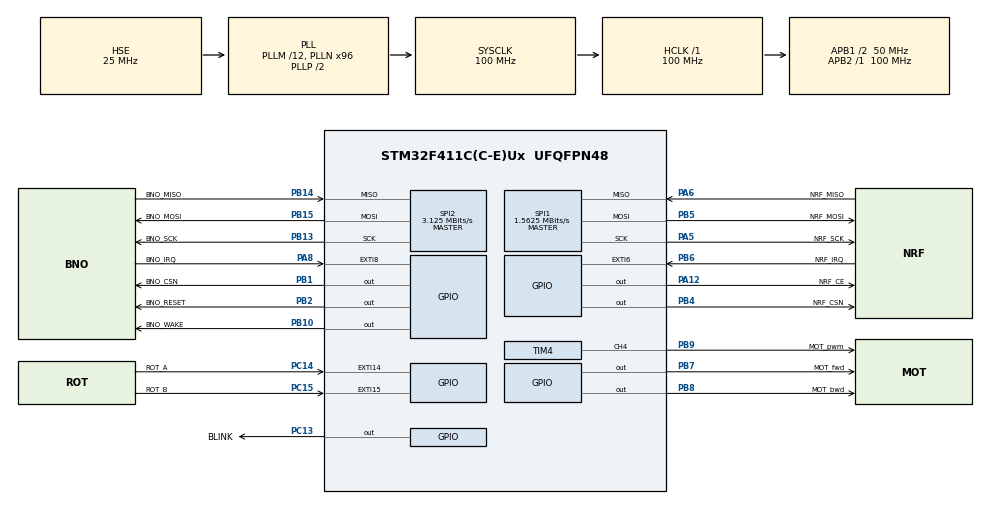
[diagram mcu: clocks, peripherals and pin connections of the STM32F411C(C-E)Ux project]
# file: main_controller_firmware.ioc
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Mcu.Family=STM32F4
Mcu.Name=STM32F411C(C-E)Ux
Mcu.Package=UFQFPN48
NVIC.EXTI15_10_IRQn=true\:0\:0\:false\:false\:true\:true\:true\:true
NVIC.EXTI9_5_IRQn=true\:0\:0\:false\:false\:true\:true\:true\:true
NVIC.PriorityGroup=NVIC_PRIORITYGROUP_4
NVIC.TIM1_BRK_TIM9_IRQn=true\:0\:0\:false\:false\:true\:true\:true\:true
NVIC.TIM4_IRQn=true\:0\:0\:false\:false\:true\:true\:true\:true
NVIC.TIM5_IRQn=true\:0\:0\:true\:false\:true\:true\:true\:true
PA12.GPIO_Label=NRF_CE
PA12.Signal=GPIO_Output
PA5.GPIO_Label=NRF_SCK
PA5.Mode=Full_Duplex_Master
PA5.Signal=SPI1_SCK
PA6.GPIO_Label=NRF_MISO
PA6.Mode=Full_Duplex_Master
PA6.Signal=SPI1_MISO
PA8.GPIO_Label=BNO_IRQ
PA8.GPIO_ModeDefaultEXTI=GPIO_MODE_IT_FALLING
PA8.Signal=GPXTI8
PB1.GPIO_Label=BNO_CSN
PB1.PinState=GPIO_PIN_SET
PB1.Signal=GPIO_Output
PB10.GPIO_Label=BNO_WAKE
PB10.PinState=GPIO_PIN_SET
PB10.Signal=GPIO_Output
PB13.GPIO_Label=BNO_SCK
PB13.Mode=Full_Duplex_Master
PB13.Signal=SPI2_SCK
PB14.GPIO_Label=BNO_MISO
PB14.Mode=Full_Duplex_Master
PB14.Signal=SPI2_MISO
PB15.GPIO_Label=BNO_MOSI
PB15.Mode=Full_Duplex_Master
PB15.Signal=SPI2_MOSI
PB2.GPIO_Label=BNO_RESET
PB2.Signal=GPIO_Output
PB4.GPIO_Label=NRF_CSN
PB4.PinState=GPIO_PIN_SET
PB4.Signal=GPIO_Output
PB5.GPIO_Label=NRF_MOSI
PB5.Mode=Full_Duplex_Master
PB5.Signal=SPI1_MOSI
PB6.GPIO_Label=NRF_IRQ
PB6.Signal=GPXTI6
PB7.GPIO_Label=MOT_fwd
PB7.Signal=GPIO_Output
PB8.GPIO_Label=MOT_bwd
PB8.Signal=GPIO_Output
PB9.GPIO_Label=MOT_pwm
PB9.Signal=S_TIM4_CH4
PC13-ANTI_TAMP.GPIO_Label=BLINK
PC13-ANTI_TAMP.Signal=GPIO_Output
PC14-OSC32_IN.GPIO_Label=ROT_A
PC14-OSC32_IN.GPIO_ModeDefaultEXTI=GPIO_MODE_IT_RISING_FALLING
PC14-OSC32_IN.Signal=GPXTI14
PC15-OSC32_OUT.GPIO_Label=ROT_B
PC15-OSC32_OUT.GPIO_ModeDefaultEXTI=GPIO_MODE_IT_RISING_FALLING
PC15-OSC32_OUT.Signal=GPXTI15
PH0\ -\ OSC_IN.Mode=HSE-External-Oscillator
PH0\ -\ OSC_IN.Signal=RCC_OSC_IN
PH1\ -\ OSC_OUT.Mode=HSE-External-Oscillator
PH1\ -\ OSC_OUT.Signal=RCC_OSC_OUT
ProjectManager.HeapSize=0x200
ProjectManager.StackSize=0x400
ProjectManager.TargetToolchain=STM32CubeIDE
RCC.48MHZClocksFreq_Value=50000000
RCC.AHBFreq_Value=100000000
RCC.APB1CLKDivider=RCC_HCLK_DIV2
RCC.APB1Freq_Value=50000000
RCC.APB1TimFreq_Value=100000000
RCC.APB2Freq_Value=100000000
RCC.APB2TimFreq_Value=100000000
RCC.CortexFreq_Value=100000000
RCC.HCLKFreq_Value=100000000
RCC.HSE_VALUE=25000000
RCC.HSI_VALUE=16000000
RCC.LSE_VALUE=32768
RCC.PLLM=12
RCC.PLLN=96
RCC.PLLSourceVirtual=RCC_PLLSOURCE_HSE
RCC.SYSCLKFreq_VALUE=100000000
RCC.SYSCLKSource=RCC_SYSCLKSOURCE_PLLCLK
RCC.VCOOutputFreq_Value=200000000
SH.S_TIM4_CH4.0=TIM4_CH4,PWM Generation4 CH4
SPI1.BaudRatePrescaler=SPI_BAUDRATEPRESCALER_64
SPI1.CalculateBaudRate=1.5625 MBits/s
SPI1.Direction=SPI_DIRECTION_2LINES
SPI1.Mode=SPI_MODE_MASTER
SPI1.VirtualType=VM_MASTER
SPI2.BaudRatePrescaler=SPI_BAUDRATEPRESCALER_16
SPI2.CLKPhase=SPI_PHASE_2EDGE
SPI2.CLKPolarity=SPI_POLARITY_HIGH
SPI2.CalculateBaudRate=3.125 MBits/s
SPI2.Direction=SPI_DIRECTION_2LINES
SPI2.Mode=SPI_MODE_MASTER
SPI2.VirtualType=VM_MASTER
TIM4.Channel-PWM\ Generation4\ CH4=TIM_CHANNEL_4
TIM4.Period=4999
TIM5.AutoReloadPreload=TIM_AUTORELOAD_PRELOAD_ENABLE
TIM5.Period=999
TIM5.Prescaler=499
TIM9.AutoReloadPreload=TIM_AUTORELOAD_PRELOAD_ENABLE
TIM9.Period=983
TIM9.Prescaler=245
VP_TIM4_VS_ClockSourceINT.Mode=Internal
VP_TIM5_VS_ClockSourceINT.Mode=Internal
VP_TIM9_VS_ClockSourceINT.Mode=Internal
board=custom

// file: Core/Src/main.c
/* USER CODE BEGIN Header */
/**
  ******************************************************************************
  * @file           : main.c
  * @brief          : Main program body
  ******************************************************************************
  * @attention
  *
  * Copyright (c) 2026 STMicroelectronics.
  * All rights reserved.
  *
  * This software is licensed under terms that can be found in the LICENSE file
  * in the root directory of this software component.
  * If no LICENSE file comes with this software, it is provided AS-IS.
  *
  ******************************************************************************
  */
/* USER CODE END Header */
#include "main.h"

/* USER CODE BEGIN Includes */
#include <math.h>

// Drivers
#include "nRF24_driver.h"
#include "bno_driver.h"
#include "motor_controller.h"

// Automatic controller
#include "auto_controller.h"

// Wireless communication protocol
#include "message_protocol.h"

// Linearisation table, et. al.
#include "lookup_tables.h"
/* USER CODE END Includes */

SPI_HandleTypeDef hspi1;
SPI_HandleTypeDef hspi2;

TIM_HandleTypeDef htim4;
TIM_HandleTypeDef htim5;
TIM_HandleTypeDef htim9;

/* USER CODE BEGIN PV */
SPI_HandleTypeDef*  hspi_bno  = &hspi2;
TIM_HandleTypeDef*  htim_mot  = &htim4;

// ======================== CONSTANTS =======================
// pi
#define PI 3.14159265358979323
// Angle conversion constants
const float DEG_TO_RAD = PI/180.0;
const float RAD_TO_DEG = (180.0/PI);
const float RDPS_TO_RPM = 60/(2*PI);

// Maximum controller output
#define MAX_CTRL 1.0
// Controller frequency
#define CTRL_FREQ 200.0
// Hysteresis limits for linear controller
const float LIM_LIN_START_ANGLE  = 3.5*DEG_TO_RAD;
const float LIM_LIN_START_SPEED  = 0.5;
const float LIM_LIN_STOP_ANGLE = 7.5*DEG_TO_RAD;
const float LIM_LIN_STOP_SPEED = 999.0;
const float SWING_DOWN_SPEED_MULT = 10.0;
// Yaw offset (radians)
float YAWR_OFFSET = 3.30*DEG_TO_RAD;
float YAW_OFFSET  = 0;
// Linear region sensitivity
float LINEAR_SENSITIVITY = 0.718;

// Rotary encoder pulses per rotation, and conversion constant
#define ROTARY_ENC_PPR 8192.0
const float ROT_E_TO_ROT_VEL = 2.0*PI*CTRL_FREQ/ROTARY_ENC_PPR;

// Physical parameters of RWP
const float J_f = 0.000058;   // Reaction wheel moment of inertia as kg/m^2
      float J_p = 0.0250;     // Pendulum arm moment of inertia as kg/m^2
const float K_g = 1.3726;     // Potential energy constant
/* USER CODE END PV */

void SystemClock_Config(void);
static void MX_GPIO_Init(void);
static void MX_TIM4_Init(void);
static void MX_SPI1_Init(void);
static void MX_TIM5_Init(void);
static void MX_TIM9_Init(void);
static void MX_SPI2_Init(void);
/* USER CODE BEGIN PFP */
void setMotorOutput(float);
/* USER CODE END PFP */

/* USER CODE BEGIN 0 */

// Raw outputs of IMU
float yaw, yaw_raw;
float dyaw, dyaw_raw, dyaw_smooth;
float pitch, roll;
// Rotary encoder output
int16_t pulse_count = 0;

// Wireless comms stuff
uint8_t last_cmd_counter = 0;
uint8_t fault_acknowledged = 0;

// RWP state
RWP_MODE rwp_mode = RWP_MODE_HALTED;
RWP_DATA_KIND rwp_data = SENSOR_DATA;
RWP_CTRL_MODE rwp_ctrl = RWP_CTRL_SWINGUP;

// There are two sources of pin interrupts. These are the IMU's IRQ and the rotary encoder.
void HAL_GPIO_EXTI_Callback(uint16_t GPIO_Pin) {
  // IMU interrupt request
  if (GPIO_Pin == BNO_IRQ_Pin) {
    // Yes, this is sketch.
    //
    // The IMU measurement is very non-linear, so I put it through
    // a lookup table to linearise. This introduces a lot of noise,
    // so an IIR is used to denoise. The phase lag this introduces
    // is too much for the linear region, so a separate set of raw
    // values is maintained as well...
    //
    // Next,
    // the angle output runs from -pi to pi radians. 0 radians corr-
    // esponds to the upright position, and pi/-pi is the downwards
    // position. Due to this, the angle output is discontinuous when
    // the pendulum points exactly downwards. This  breaks numeric
    // differentiation, giving massive spikes for dyaw. To fix this,
    // I check how big the calculated angular velocity is, and if it
    // exceeds +-pi radians per timestep (100 radians/s) then we ass-
    // ume that the zero point was crossed and subtract/add 2*pi from -
    // the result before using it to calculate dyaw.
    //
    // It's hacky, but I've tested it...

    // Save previously measured values
    float yaw_prev = yaw, yaw_raw_prev = yaw_raw;

    // Get the raw IMU values
    BNO_IRQcallback();
    BNO_getYPR(&yaw_raw, &pitch, &roll);

    // Calculate raw dyaw for linear region
    // This is only used when yaw is smol, so adjusting for
    // the discontinuity is not necessary
    dyaw_raw = (yaw_raw - yaw_raw_prev)*CTRL_FREQ;

    // Correct the plain yaw for nonlinearity
    yaw = motorLinearizationLookup(yaw_raw);

    // Calculate plain dyaw, being aware of the discontinuity
    if (yaw - yaw_prev > PI)
      dyaw = (yaw - yaw_prev - 2*PI)*CTRL_FREQ;
    else if (yaw - yaw_prev < -PI)
      dyaw = (yaw - yaw_prev + 2*PI)*CTRL_FREQ;
    else
      dyaw = (yaw - yaw_prev)*CTRL_FREQ;

    // IIR filter for dyaw
    static float last_iir_output = 0.0;
    last_iir_output = 0.80 * last_iir_output + 0.20 * dyaw;
    dyaw_smooth = last_iir_output;

    return;
  }
  // Rotary encoder tick
  else {
    // Get the rotary encoder pin levels
    GPIO_PinState A_status = HAL_GPIO_ReadPin(ROT_A_GPIO_Port, ROT_A_Pin);
    GPIO_PinState B_status = HAL_GPIO_ReadPin(ROT_B_GPIO_Port, ROT_B_Pin);

    // If pin A triggered, the pins are the same when rotating CCW
    // If pin B triggered, the pins are different when rotating CCW
    // If the pins have the opposite sense to the above, rotation is CW
    // This can elegantly be expressed as the below
    if ((GPIO_Pin == ROT_A_Pin) == (A_status == B_status))
      pulse_count++;
    else
      pulse_count--;
  }
}

void HAL_TIM_PeriodElapsedCallback(TIM_HandleTypeDef* htim) {
  // Control variables
  static float  user_input = 0.0;
  static double a_p, a_pl, v_f, v_p, v_pl;
  static double KE_p, KE_f, PE_p;
  static float  motor_output = 0.0;

  // Communication variables
  static uint8_t missed_packets = 0;

  // 100Hz timer for control
  if (htim == &htim5) {
    /* ============== MOTOR CONTROL CODE ============= */

    // Calculate the current state (all rad or rad/s)
    a_p  = yaw - YAW_OFFSET;             // Linearised theta
    a_pl = yaw_raw - YAWR_OFFSET;        // Raw theta
    v_p  = dyaw_smooth;                  // Linearised omega_p
    v_pl = dyaw_raw;                     // Raw omega_p
    v_f  = -ROT_E_TO_ROT_VEL*pulse_count; // Reaction wheel vel
    // Send sensor state to auto controller
    setSensorState(a_p, a_pl, v_p, v_pl, v_f);

    // System energy estimation (all J)
    KE_p = v_p*v_p*J_p/2.0;
    KE_f = v_f*v_f*J_f/2.0;
    PE_p = K_g * (cos(a_p)-1);

    // Reset pulse_count to get a relative measurement
    pulse_count = 0;

    // In calibration mode, continuously set the angle offsets to the current angles and break the motor
    if (rwp_mode == RWP_MODE_CALIBRATION) {
      YAWR_OFFSET = yaw_raw;
      YAW_OFFSET  = yaw;
      motor_output = 0.1*v_f;
    }
    // If in manual mode, set the output to the potentiometer value
    else if (rwp_mode == RWP_MODE_MANUAL)
      motor_output = user_input;
    // If in halt mode, set the output to zero
    else if (rwp_mode == RWP_MODE_HALTED)
      motor_output = 0;
    // In auto mode, get the auto controller value
    else if (rwp_mode == RWP_MODE_AUTO)
      motor_output = getMotorCtrlValue();
    // If the rotor lock mode is enabled, resist any rotation of the rotor
    else if (rwp_mode == RWP_MODE_LOCK)
      motor_output = 0.1*v_f;
    // In any fault mode, lightly brake the motor...
    else
      motor_output = 0.01*v_f;

    // For safety, prevent the motor from going faster than 170rad/s
    if (v_f >  170) motor_output += 0.01*(v_f-170);
    if (v_f < -170) motor_output += 0.01*(v_f+170);

    // Clip the control value
    if (motor_output > MAX_CTRL) motor_output = MAX_CTRL;
    else if (motor_output < -MAX_CTRL) motor_output = -MAX_CTRL;

    // Update motor output
    setMotorOutput(motor_output);
  }
  // 200Hz timer for communications
  else if (htim == &htim9) {
    /* ============== COMMUNICATIONS CODE ============= */
    // Increment synchronization counters
    ++last_cmd_counter;

    // If there's data available from the nRF24, get it!
    uint8_t fifo_status = readNRF24register(N24_FIFO_STATUS);
    if ((fifo_status & 0b00000001) == 0) {
      // Packet has been received, update appropriate variables
      last_cmd_counter = 0;
      missed_packets = 0;

      // Read the received packet into a frame get its contents
      RMT_MESSAGE_FRAME rmt_message;
      readNRF24payload(rmt_message.bytes, 16);
      int16_t raw_value = rmt_message.control_msg.pot_value;
      user_input = raw_value/2048.0f;
      // and update the mode based on received packet
      RWP_MODE req_mode = rmt_message.control_msg.req_mode;
      if (rwp_mode >= 0x80 && rwp_mode == rmt_message.control_msg.req_mode) {
        fault_acknowledged = 1;
        rwp_mode = RWP_MODE_HALTED;
      }
      else {
        if (req_mode >= 0x80 && fault_acknowledged == 1)
          rwp_mode = RWP_MODE_HALTED;
        else
          rwp_mode = rmt_message.control_msg.req_mode;
      }
      rwp_data = rmt_message.control_msg.req_data_type;

      // Clear, rebuild and set new acknowledge payload
      RWP_MESSAGE_FRAME rwp_message;
      memset(rwp_message.bytes, 0x00, 32);
      rwp_message.sensor_data.data_type = rwp_data;
      rwp_message.sensor_data.cur_mode = rwp_mode;
      if (rwp_data == SENSOR_DATA) {
        rwp_message.sensor_data.yaw   = RAD_TO_DEG * yaw;
        rwp_message.sensor_data.pitch = RAD_TO_DEG * pitch;
        rwp_message.sensor_data.roll  = RAD_TO_DEG * roll;
        rwp_message.sensor_data.RPM   = RDPS_TO_RPM * v_f;
        rwp_message.sensor_data.ctrl_mode = getCtrlState();
      }
      else {
        rwp_message.control_data.ctrl_mode  = getCtrlState();
        rwp_message.control_data.ctrl_value = motor_output;
        rwp_message.control_data.v_a = a_p;
        rwp_message.control_data.v_b = v_p;
        rwp_message.control_data.v_c = v_f;
        rwp_message.control_data.v_d = PE_p;
        rwp_message.control_data.v_e = KE_p;
        rwp_message.control_data.v_f = KE_f;
      }
      writeNRF24ackPayload(rwp_message.bytes, 32, 0);

      // Clear RX_DR interrupt
      writeNRF24register(N24_STATUS, 0b01000000);

      HAL_GPIO_WritePin(BLINK_GPIO_Port, BLINK_Pin, GPIO_PIN_SET);
    }

    // Check for missed packets (10 consecutive polls with no packet)
    if (last_cmd_counter > 2) {
      last_cmd_counter = 0;

      // If we miss three packets in a row, stop
      if (missed_packets >= 3) {
        rwp_mode = RWP_MODE_HALTED;

        missed_packets = ((missed_packets-9)%25)+10;

        // Blink if there is a consistent wireless comms failure
        if (missed_packets == 10) HAL_GPIO_TogglePin(BLINK_GPIO_Port, BLINK_Pin);
      }
      else {
         ++missed_packets;
      }
    }
  }
  else if (htim == htim_mot) {
    if (next_sample() == 0)
      HAL_TIM_Base_Stop_IT(htim_mot);
  }
}

/* USER CODE END 0 */

int main(void)
{

  /* MCU Configuration--------------------------------------------------------*/

  /* Reset of all peripherals, Initializes the Flash interface and the Systick. */
  HAL_Init();

  /* Configure the system clock */
  SystemClock_Config();

  /* Initialize all configured peripherals */
  MX_GPIO_Init();
  MX_TIM4_Init();
  MX_SPI1_Init();
  MX_TIM5_Init();
  MX_TIM9_Init();
  MX_SPI2_Init();
  /* USER CODE BEGIN 2 */

  // Stop motor, then start PWM generation
  setMotorOutput(0.0f);
  HAL_TIM_PWM_Start(&htim4, TIM_CHANNEL_4);

  // Start the nRF24
  NRF24_init();
  HAL_GPIO_WritePin(BLINK_GPIO_Port, BLINK_Pin, GPIO_PIN_SET);
  HAL_TIM_Base_Start_IT(&htim9);

  // Play a startup tune
  playStartupTune();

  // Start the BNO085
  BNO_startup();

  // Then start the rotation vector output
  BNO_startRotationVector();

  // Finally, enable the motor controller after setting everything else up
  HAL_TIM_Base_Start_IT(&htim5);

  /* USER CODE END 2 */

  /* Infinite loop */
  while (1)
  {

  }
}

void SystemClock_Config(void)
{
  RCC_OscInitTypeDef RCC_OscInitStruct = {0};
  RCC_ClkInitTypeDef RCC_ClkInitStruct = {0};

  /** Configure the main internal regulator output voltage
  */
  __HAL_RCC_PWR_CLK_ENABLE();
  __HAL_PWR_VOLTAGESCALING_CONFIG(PWR_REGULATOR_VOLTAGE_SCALE1);

  /** Initializes the RCC Oscillators according to the specified parameters
  * in the RCC_OscInitTypeDef structure.
  */
  RCC_OscInitStruct.OscillatorType = RCC_OSCILLATORTYPE_HSE;
  RCC_OscInitStruct.HSEState = RCC_HSE_ON;
  RCC_OscInitStruct.PLL.PLLState = RCC_PLL_ON;
  RCC_OscInitStruct.PLL.PLLSource = RCC_PLLSOURCE_HSE;
  RCC_OscInitStruct.PLL.PLLM = 12;
  RCC_OscInitStruct.PLL.PLLN = 96;
  RCC_OscInitStruct.PLL.PLLP = RCC_PLLP_DIV2;
  RCC_OscInitStruct.PLL.PLLQ = 4;
  if (HAL_RCC_OscConfig(&RCC_OscInitStruct) != HAL_OK)
  {
    Error_Handler();
  }

  /** Initializes the CPU, AHB and APB buses clocks
  */
  RCC_ClkInitStruct.ClockType = RCC_CLOCKTYPE_HCLK|RCC_CLOCKTYPE_SYSCLK
                              |RCC_CLOCKTYPE_PCLK1|RCC_CLOCKTYPE_PCLK2;
  RCC_ClkInitStruct.SYSCLKSource = RCC_SYSCLKSOURCE_PLLCLK;
  RCC_ClkInitStruct.AHBCLKDivider = RCC_SYSCLK_DIV1;
  RCC_ClkInitStruct.APB1CLKDivider = RCC_HCLK_DIV2;
  RCC_ClkInitStruct.APB2CLKDivider = RCC_HCLK_DIV1;

  if (HAL_RCC_ClockConfig(&RCC_ClkInitStruct, FLASH_LATENCY_3) != HAL_OK)
  {
    Error_Handler();
  }
}

static void MX_SPI1_Init(void)
{

  /* SPI1 parameter configuration*/
  hspi1.Instance = SPI1;
  hspi1.Init.Mode = SPI_MODE_MASTER;
  hspi1.Init.Direction = SPI_DIRECTION_2LINES;
  hspi1.Init.DataSize = SPI_DATASIZE_8BIT;
  hspi1.Init.CLKPolarity = SPI_POLARITY_LOW;
  hspi1.Init.CLKPhase = SPI_PHASE_1EDGE;
  hspi1.Init.NSS = SPI_NSS_SOFT;
  hspi1.Init.BaudRatePrescaler = SPI_BAUDRATEPRESCALER_64;
  hspi1.Init.FirstBit = SPI_FIRSTBIT_MSB;
  hspi1.Init.TIMode = SPI_TIMODE_DISABLE;
  hspi1.Init.CRCCalculation = SPI_CRCCALCULATION_DISABLE;
  hspi1.Init.CRCPolynomial = 10;
  if (HAL_SPI_Init(&hspi1) != HAL_OK)
  {
    Error_Handler();
  }

}

static void MX_SPI2_Init(void)
{

  /* SPI2 parameter configuration*/
  hspi2.Instance = SPI2;
  hspi2.Init.Mode = SPI_MODE_MASTER;
  hspi2.Init.Direction = SPI_DIRECTION_2LINES;
  hspi2.Init.DataSize = SPI_DATASIZE_8BIT;
  hspi2.Init.CLKPolarity = SPI_POLARITY_HIGH;
  hspi2.Init.CLKPhase = SPI_PHASE_2EDGE;
  hspi2.Init.NSS = SPI_NSS_SOFT;
  hspi2.Init.BaudRatePrescaler = SPI_BAUDRATEPRESCALER_16;
  hspi2.Init.FirstBit = SPI_FIRSTBIT_MSB;
  hspi2.Init.TIMode = SPI_TIMODE_DISABLE;
  hspi2.Init.CRCCalculation = SPI_CRCCALCULATION_DISABLE;
  hspi2.Init.CRCPolynomial = 10;
  if (HAL_SPI_Init(&hspi2) != HAL_OK)
  {
    Error_Handler();
  }

}

static void MX_TIM4_Init(void)
{

  TIM_ClockConfigTypeDef sClockSourceConfig = {0};
  TIM_MasterConfigTypeDef sMasterConfig = {0};
  TIM_OC_InitTypeDef sConfigOC = {0};

  htim4.Instance = TIM4;
  htim4.Init.Prescaler = 0;
  htim4.Init.CounterMode = TIM_COUNTERMODE_UP;
  htim4.Init.Period = 4999;
  htim4.Init.ClockDivision = TIM_CLOCKDIVISION_DIV1;
  htim4.Init.AutoReloadPreload = TIM_AUTORELOAD_PRELOAD_DISABLE;
  if (HAL_TIM_Base_Init(&htim4) != HAL_OK)
  {
    Error_Handler();
  }
  sClockSourceConfig.ClockSource = TIM_CLOCKSOURCE_INTERNAL;
  if (HAL_TIM_ConfigClockSource(&htim4, &sClockSourceConfig) != HAL_OK)
  {
    Error_Handler();
  }
  if (HAL_TIM_PWM_Init(&htim4) != HAL_OK)
  {
    Error_Handler();
  }
  sMasterConfig.MasterOutputTrigger = TIM_TRGO_RESET;
  sMasterConfig.MasterSlaveMode = TIM_MASTERSLAVEMODE_DISABLE;
  if (HAL_TIMEx_MasterConfigSynchronization(&htim4, &sMasterConfig) != HAL_OK)
  {
    Error_Handler();
  }
  sConfigOC.OCMode = TIM_OCMODE_PWM1;
  sConfigOC.Pulse = 0;
  sConfigOC.OCPolarity = TIM_OCPOLARITY_HIGH;
  sConfigOC.OCFastMode = TIM_OCFAST_DISABLE;
  if (HAL_TIM_PWM_ConfigChannel(&htim4, &sConfigOC, TIM_CHANNEL_4) != HAL_OK)
  {
    Error_Handler();
  }
  HAL_TIM_MspPostInit(&htim4);

}

static void MX_TIM5_Init(void)
{

  TIM_ClockConfigTypeDef sClockSourceConfig = {0};
  TIM_MasterConfigTypeDef sMasterConfig = {0};

  htim5.Instance = TIM5;
  htim5.Init.Prescaler = 499;
  htim5.Init.CounterMode = TIM_COUNTERMODE_UP;
  htim5.Init.Period = 999;
  htim5.Init.ClockDivision = TIM_CLOCKDIVISION_DIV1;
  htim5.Init.AutoReloadPreload = TIM_AUTORELOAD_PRELOAD_ENABLE;
  if (HAL_TIM_Base_Init(&htim5) != HAL_OK)
  {
    Error_Handler();
  }
  sClockSourceConfig.ClockSource = TIM_CLOCKSOURCE_INTERNAL;
  if (HAL_TIM_ConfigClockSource(&htim5, &sClockSourceConfig) != HAL_OK)
  {
    Error_Handler();
  }
  sMasterConfig.MasterOutputTrigger = TIM_TRGO_RESET;
  sMasterConfig.MasterSlaveMode = TIM_MASTERSLAVEMODE_DISABLE;
  if (HAL_TIMEx_MasterConfigSynchronization(&htim5, &sMasterConfig) != HAL_OK)
  {
    Error_Handler();
  }

}

static void MX_TIM9_Init(void)
{

  TIM_ClockConfigTypeDef sClockSourceConfig = {0};

  htim9.Instance = TIM9;
  htim9.Init.Prescaler = 245;
  htim9.Init.CounterMode = TIM_COUNTERMODE_UP;
  htim9.Init.Period = 983;
  htim9.Init.ClockDivision = TIM_CLOCKDIVISION_DIV1;
  htim9.Init.AutoReloadPreload = TIM_AUTORELOAD_PRELOAD_ENABLE;
  if (HAL_TIM_Base_Init(&htim9) != HAL_OK)
  {
    Error_Handler();
  }
  sClockSourceConfig.ClockSource = TIM_CLOCKSOURCE_INTERNAL;
  if (HAL_TIM_ConfigClockSource(&htim9, &sClockSourceConfig) != HAL_OK)
  {
    Error_Handler();
  }

}

static void MX_GPIO_Init(void)
{
  GPIO_InitTypeDef GPIO_InitStruct = {0};

  /* GPIO Ports Clock Enable */
  __HAL_RCC_GPIOC_CLK_ENABLE();
  __HAL_RCC_GPIOH_CLK_ENABLE();
  __HAL_RCC_GPIOA_CLK_ENABLE();
  __HAL_RCC_GPIOB_CLK_ENABLE();

  /*Configure GPIO pin Output Level */
  HAL_GPIO_WritePin(BLINK_GPIO_Port, BLINK_Pin, GPIO_PIN_RESET);

  /*Configure GPIO pin Output Level */
  HAL_GPIO_WritePin(GPIOB, BNO_CSN_Pin|BNO_WAKE_Pin|NRF_CSN_Pin, GPIO_PIN_SET);

  /*Configure GPIO pin Output Level */
  HAL_GPIO_WritePin(GPIOB, BNO_RESET_Pin|MOT_fwd_Pin|MOT_bwd_Pin, GPIO_PIN_RESET);

  /*Configure GPIO pin Output Level */
  HAL_GPIO_WritePin(NRF_CE_GPIO_Port, NRF_CE_Pin, GPIO_PIN_RESET);

  /*Configure GPIO pin : BLINK_Pin */
  GPIO_InitStruct.Pin = BLINK_Pin;
  GPIO_InitStruct.Mode = GPIO_MODE_OUTPUT_PP;
  GPIO_InitStruct.Pull = GPIO_NOPULL;
  GPIO_InitStruct.Speed = GPIO_SPEED_FREQ_LOW;
  HAL_GPIO_Init(BLINK_GPIO_Port, &GPIO_InitStruct);

  /*Configure GPIO pins : ROT_A_Pin ROT_B_Pin */
  GPIO_InitStruct.Pin = ROT_A_Pin|ROT_B_Pin;
  GPIO_InitStruct.Mode = GPIO_MODE_IT_RISING_FALLING;
  GPIO_InitStruct.Pull = GPIO_NOPULL;
  HAL_GPIO_Init(GPIOC, &GPIO_InitStruct);

  /*Configure GPIO pins : BNO_CSN_Pin BNO_RESET_Pin BNO_WAKE_Pin NRF_CSN_Pin
                           MOT_fwd_Pin MOT_bwd_Pin */
  GPIO_InitStruct.Pin = BNO_CSN_Pin|BNO_RESET_Pin|BNO_WAKE_Pin|NRF_CSN_Pin
                          |MOT_fwd_Pin|MOT_bwd_Pin;
  GPIO_InitStruct.Mode = GPIO_MODE_OUTPUT_PP;
  GPIO_InitStruct.Pull = GPIO_NOPULL;
  GPIO_InitStruct.Speed = GPIO_SPEED_FREQ_LOW;
  HAL_GPIO_Init(GPIOB, &GPIO_InitStruct);

  /*Configure GPIO pin : BNO_IRQ_Pin */
  GPIO_InitStruct.Pin = BNO_IRQ_Pin;
  GPIO_InitStruct.Mode = GPIO_MODE_IT_FALLING;
  GPIO_InitStruct.Pull = GPIO_NOPULL;
  HAL_GPIO_Init(BNO_IRQ_GPIO_Port, &GPIO_InitStruct);

  /*Configure GPIO pin : NRF_CE_Pin */
  GPIO_InitStruct.Pin = NRF_CE_Pin;
  GPIO_InitStruct.Mode = GPIO_MODE_OUTPUT_PP;
  GPIO_InitStruct.Pull = GPIO_NOPULL;
  GPIO_InitStruct.Speed = GPIO_SPEED_FREQ_LOW;
  HAL_GPIO_Init(NRF_CE_GPIO_Port, &GPIO_InitStruct);

  /*Configure GPIO pin : NRF_IRQ_Pin */
  GPIO_InitStruct.Pin = NRF_IRQ_Pin;
  GPIO_InitStruct.Mode = GPIO_MODE_IT_RISING;
  GPIO_InitStruct.Pull = GPIO_NOPULL;
  HAL_GPIO_Init(NRF_IRQ_GPIO_Port, &GPIO_InitStruct);

  /* EXTI interrupt init*/
  HAL_NVIC_SetPriority(EXTI9_5_IRQn, 0, 0);
  HAL_NVIC_EnableIRQ(EXTI9_5_IRQn);

  HAL_NVIC_SetPriority(EXTI15_10_IRQn, 0, 0);
  HAL_NVIC_EnableIRQ(EXTI15_10_IRQn);

}

void Error_Handler(void)
{
  __disable_irq();
  while (1)
  {
  }
}
